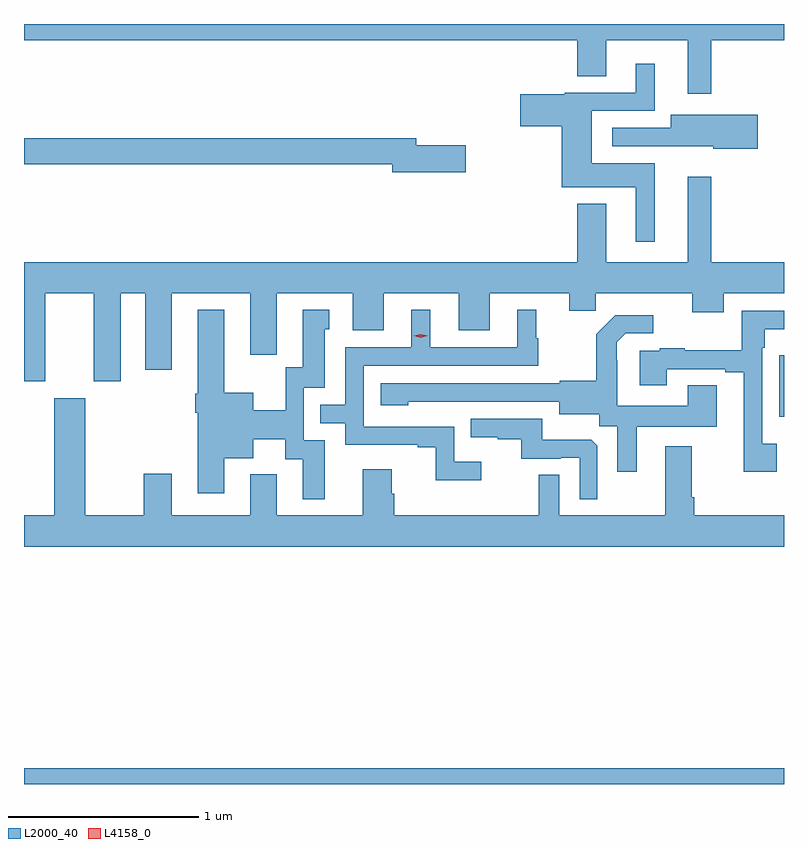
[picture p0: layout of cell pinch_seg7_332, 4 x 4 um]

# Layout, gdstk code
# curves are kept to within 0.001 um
import gdstk
lib = gdstk.Library(unit=1e-6, precision=1e-09)
def R(c, l, rs):  # rectangles x0, y0, x1, y1
    for r in rs: c.add(gdstk.rectangle(r[:2], r[2:], *l))
def P(c, l, *ps):  # polygons
    for p in ps: c.add(gdstk.Polygon(p, *l))
L2000_40 = (2000, 40)
L4158_0 = (4158, 0)

pinch_seg7_332 = lib.new_cell('pinch_seg7_332')
R(pinch_seg7_332, L2000_40, [(456.447,1063.302,460.447,1063.384), (460.422,1065.234,460.447,1065.559)])
P(pinch_seg7_332, L2000_40, [(460.063,1067.216),(460.447,1067.216),(460.447,1067.302),(456.447,1067.302),(456.447,1067.216),(459.359,1067.216),(459.359,1067.026),(459.511,1067.026),(459.511,1067.216),(459.941,1067.216),(459.941,1066.935),(460.063,1066.935)],
  [(459.766,1066.57),(459.436,1066.57),(459.436,1066.845),(459.766,1066.845),(459.766,1067.092),(459.668,1067.092),(459.668,1066.941),(459.294,1066.941),(459.294,1066.933),(459.06,1066.933),(459.06,1066.763),(459.278,1066.763),(459.278,1066.442),(459.668,1066.442),(459.668,1066.155),(459.766,1066.155)],
  [(460.309,1066.824),(459.851,1066.824),(459.851,1066.755),(459.543,1066.755),(459.543,1066.659),(459.855,1066.659),(459.855,1066.658),(460.074,1066.658),(460.074,1066.646),(460.309,1066.646)],
  [(458.773,1066.664),(458.512,1066.664),(458.512,1066.7),(456.447,1066.7),(456.447,1066.564),(458.384,1066.564),(458.384,1066.522),(458.773,1066.522)],
  [(456.447,1065.423),(456.559,1065.423),(456.559,1065.884),(456.815,1065.884),(456.815,1065.423),(456.955,1065.423),(456.955,1065.884),(457.085,1065.884),(457.085,1065.483),(457.225,1065.483),(457.225,1065.884),(457.637,1065.884),(457.637,1065.561),(457.777,1065.561),(457.777,1065.884),(458.177,1065.884),(458.177,1065.69),(458.341,1065.69),(458.341,1065.884),(458.735,1065.884),(458.735,1065.69),(458.899,1065.69),(458.899,1065.884),(459.317,1065.884),(459.317,1065.794),(459.455,1065.794),(459.455,1065.884),(459.965,1065.884),(459.965,1065.785),(460.129,1065.785),(460.129,1065.884),(460.447,1065.884),(460.447,1066.048),(460.063,1066.048),(460.063,1066.498),(459.941,1066.498),(459.941,1066.048),(459.511,1066.048),(459.511,1066.357),(459.359,1066.357),(459.359,1066.048),(456.447,1066.048)],
  [(458.854,1064.998),(458.712,1064.998),(458.712,1065.183),(458.235,1065.183),(458.235,1065.504),(459.154,1065.504),(459.154,1065.648),(459.142,1065.648),(459.142,1065.799),(459.044,1065.799),(459.044,1065.6),(458.584,1065.6),(458.584,1065.799),(458.486,1065.799),(458.486,1065.6),(458.139,1065.6),(458.139,1065.297),(458.005,1065.297),(458.005,1065.201),(458.139,1065.201),(458.139,1065.087),(458.519,1065.087),(458.519,1065.075),(458.614,1065.075),(458.614,1064.9),(458.854,1064.9)],
  [(458.029,1065.111),(457.92,1065.111),(457.92,1065.387),(458.029,1065.387),(458.029,1065.696),(458.053,1065.696),(458.053,1065.799),(457.913,1065.799),(457.913,1065.495),(457.824,1065.495),(457.824,1065.268),(457.654,1065.268),(457.654,1065.361),(457.501,1065.361),(457.501,1065.799),(457.361,1065.799),(457.361,1065.357),(457.349,1065.357),(457.349,1065.257),(457.361,1065.257),(457.361,1064.832),(457.501,1064.832),(457.501,1065.017),(457.654,1065.017),(457.654,1065.116),(457.823,1065.116),(457.823,1065.01),(457.913,1065.01),(457.913,1064.802),(458.029,1064.802)],
  [(460.408,1065.094),(460.332,1065.094),(460.332,1065.599),(460.345,1065.599),(460.345,1065.695),(460.447,1065.695),(460.447,1065.792),(460.224,1065.792),(460.224,1065.584),(459.925,1065.584),(459.925,1065.595),(459.793,1065.595),(459.793,1065.582),(459.689,1065.582),(459.689,1065.402),(459.829,1065.402),(459.829,1065.486),(460.139,1065.486),(460.139,1065.468),(460.235,1065.468),(460.235,1064.946),(460.408,1064.946)],
  [(459.673,1065.182),(460.093,1065.182),(460.093,1065.401),(459.941,1065.401),(459.941,1065.292),(459.57,1065.292),(459.57,1065.533),(459.568,1065.533),(459.568,1065.628),(459.615,1065.675),(459.76,1065.675),(459.76,1065.769),(459.559,1065.769),(459.459,1065.669),(459.459,1065.424),(459.267,1065.424),(459.267,1065.411),(458.325,1065.411),(458.325,1065.296),(458.469,1065.296),(458.469,1065.314),(459.263,1065.315),(459.263,1065.248),(459.474,1065.248),(459.474,1065.184),(459.569,1065.184),(459.569,1064.946),(459.673,1064.946)],
  [(460.447,1064.716),(459.974,1064.716),(459.974,1064.812),(459.961,1064.812),(459.961,1065.079),(459.821,1065.079),(459.821,1064.716),(459.264,1064.716),(459.264,1064.93),(459.156,1064.93),(459.156,1064.716),(458.396,1064.716),(458.396,1064.829),(458.383,1064.829),(458.383,1064.959),(458.231,1064.959),(458.231,1064.716),(457.777,1064.716),(457.777,1064.932),(457.637,1064.932),(457.637,1064.716),(457.225,1064.716),(457.225,1064.935),(457.078,1064.935),(457.078,1064.716),(456.769,1064.716),(456.769,1065.331),(456.605,1065.331),(456.605,1064.716),(456.447,1064.716),(456.447,1064.552),(460.447,1064.552)],
  [(459.465,1065.081),(459.433,1065.113),(459.175,1065.113),(459.175,1065.225),(458.797,1065.225),(458.797,1065.128),(458.941,1065.128),(458.941,1065.117),(459.065,1065.117),(459.065,1065.015),(459.272,1065.015),(459.272,1065.018),(459.372,1065.018),(459.372,1064.801),(459.465,1064.801)])
P(pinch_seg7_332, L4158_0, [(458.535,1065.65),(458.499,1065.66),(458.499,1065.66),(458.499,1065.661),(458.535,1065.67),(458.57,1065.661),(458.571,1065.66),(458.57,1065.66)])

lib.write_gds('pinch_seg7_332.gds')
